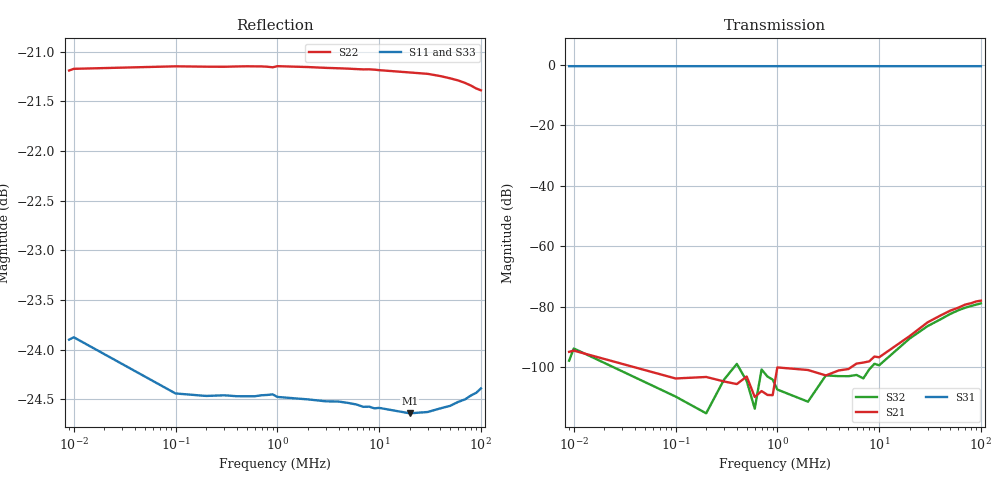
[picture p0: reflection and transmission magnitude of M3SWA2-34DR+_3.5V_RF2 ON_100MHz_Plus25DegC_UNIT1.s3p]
!Keysight Technologies,P5022A,MY58100238,A.14.30.03
!Date: Monday, August 28, 2023 15:31:52
!Correction: S11(C  3-Port  )
!S12(C  3-Port  )
!S13(C  3-Port  )
!S21(C  3-Port  )
!S22(C  3-Port  )
!S23(C  3-Port  )
!S31(C  3-Port  )
!S32(C  3-Port  )
!S33(C  3-Port  )
!S3P File: Measurement: :
!Deduct Board Loss
# Hz S  dB  R 50
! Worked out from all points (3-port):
!   30 points, 9 kHz to 100 MHz, reference 50 ohm
!   strongest paths, dB at 9 kHz, 600 kHz, 5 MHz, 30 MHz, 100 MHz:
!     S31: -0.6, -0.6, -0.6, -0.6, -0.6
!     S21: -95.0, -109.9, -100.7, -85.2, -78.1
!     S32: -97.9, -113.8, -103.0, -86.5, -79.0
!   lowest |S11| = -24.6 dB at 20 MHz (marker M1), VSWR 1.12, Z = 56.2 - j0.243 ohm
!   |S11| at or under -10 dB: start of sweep to end of sweep
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9000  -23.90 -9.5  -88.15 52.3  -0.56 0.5
      -94.98 152.4  -21.19 176.7  -92.52 11.6
      -0.56 0.5  -97.90 56.2  -23.53 -9.2
100000  -24.44 0.4  -108.27 -7.4  -0.55 -0.1
        -103.79 -10.0  -21.15 179.8  -105.63 -87.8
        -0.56 -0.1  -109.77 -19.3  -24.41 0.2
1000000  -24.48 -0.2  -105.41 -20.4  -0.55 -0.1
         -100.14 3.5  -21.15 179.9  -103.85 47.0
         -0.55 -0.1  -107.44 -28.4  -24.42 -0.2
6000000  -24.55 -1.0  -99.47 42.6  -0.55 -0.7
         -98.88 50.2  -21.18 179.1  -102.81 65.6
         -0.55 -0.7  -102.64 60.6  -24.48 -1.0
2e7  -24.64 -2.1  -89.47 77.0  -0.55 -2.2
     -89.76 80.0  -21.21 177.5  -90.89 86.8
     -0.55 -2.2  -90.56 84.3  -24.58 -1.8
4e7  -24.59 -4.0  -82.80 67.4  -0.56 -4.3
     -82.99 66.3  -21.25 175.2  -84.12 69.8
     -0.56 -4.4  -84.26 71.3  -24.54 -3.3
6e7  -24.52 -6.5  -80.09 57.9  -0.56 -6.5
     -80.39 57.4  -21.29 173.1  -81.60 57.9
     -0.56 -6.5  -81.25 56.3  -24.47 -5.4
8e7  -24.46 -9.0  -78.66 50.7  -0.56 -8.6
     -78.92 51.0  -21.34 171.1  -80.17 48.0
     -0.55 -8.6  -79.84 48.3  -24.40 -7.8
9e7  -24.43 -10.3  -78.15 48.8  -0.55 -9.6
     -78.33 47.9  -21.37 170.0  -79.80 45.2
     -0.55 -9.6  -79.38 44.8  -24.37 -8.9
1e8  -24.39 -11.5  -77.69 46.6  -0.55 -10.6
     -78.07 46.7  -21.39 169.0  -79.34 41.6
     -0.55 -10.6  -78.96 42.3  -24.32 -10.0
